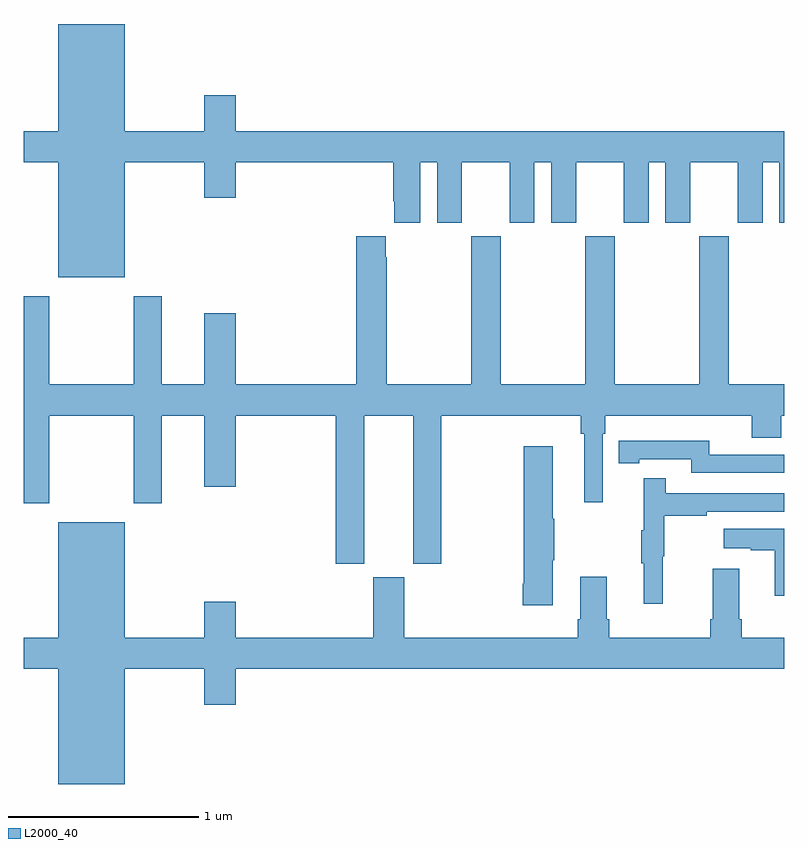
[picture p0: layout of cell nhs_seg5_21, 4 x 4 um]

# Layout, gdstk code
import gdstk
lib = gdstk.Library(unit=1e-6, precision=1e-09)
def P(c, l, *ps):  # polygons
    for p in ps: c.add(gdstk.Polygon(p, *l))
L2000_40 = (2000, 40)

nhs_seg5_21 = lib.new_cell('nhs_seg5_21')
P(nhs_seg5_21, L2000_40, [(111.532,878.072),(111.95,878.072),(111.95,877.884),(112.114,877.884),(112.114,878.072),(112.943,878.072),(112.943,877.867),(112.949,877.867),(112.949,877.755),(113.086,877.755),(113.086,878.072),(113.174,878.072),(113.174,877.755),(113.305,877.755),(113.305,878.072),(113.555,878.072),(113.555,877.755),(113.686,877.755),(113.686,878.072),(113.774,878.072),(113.774,877.755),(113.905,877.755),(113.905,878.072),(114.155,878.072),(114.155,877.755),(114.286,877.755),(114.286,878.072),(114.374,878.072),(114.374,877.755),(114.505,877.755),(114.505,878.072),(114.755,878.072),(114.755,877.755),(114.886,877.755),(114.886,878.072),(114.974,878.072),(114.974,877.755),(115,877.755),(115,878.236),(112.114,878.236),(112.114,878.425),(111.95,878.425),(111.95,878.236),(111.532,878.236),(111.532,878.799),(111.182,878.799),(111.182,878.236),(111,878.236),(111,878.072),(111.182,878.072),(111.182,877.466),(111.532,877.466)],
  [(112.792,876.74),(113.048,876.74),(113.048,875.961),(113.196,875.961),(113.196,876.74),(113.929,876.74),(113.929,876.644),(113.948,876.644),(113.948,876.285),(114.045,876.285),(114.045,876.644),(114.059,876.644),(114.059,876.74),(114.83,876.74),(114.83,876.623),(114.983,876.623),(114.983,876.74),(115,876.74),(115,876.904),(114.708,876.904),(114.708,877.684),(114.553,877.684),(114.553,876.904),(114.108,876.904),(114.108,877.684),(113.953,877.684),(113.953,876.904),(113.508,876.904),(113.508,877.684),(113.353,877.684),(113.353,876.904),(112.908,876.904),(112.908,877.571),(112.903,877.571),(112.903,877.684),(112.748,877.684),(112.748,876.904),(112.114,876.904),(112.114,877.279),(111.95,877.279),(111.95,876.904),(111.727,876.904),(111.727,877.366),(111.58,877.366),(111.58,876.904),(111.135,876.904),(111.135,877.366),(111,877.366),(111,876.279),(111.135,876.279),(111.135,876.74),(111.58,876.74),(111.58,876.279),(111.727,876.279),(111.727,876.74),(111.95,876.74),(111.95,876.366),(112.114,876.366),(112.114,876.74),(112.64,876.74),(112.64,875.961),(112.792,875.961)],
  [(115,876.534),(114.606,876.534),(114.606,876.607),(114.238,876.607),(114.238,876.606),(114.13,876.606),(114.13,876.49),(114.238,876.49),(114.238,876.51),(114.51,876.51),(114.51,876.438),(115,876.438)],
  [(113.782,875.98),(113.79,875.98),(113.79,876.197),(113.782,876.197),(113.782,876.577),(113.629,876.577),(113.629,875.854),(113.624,875.854),(113.624,875.742),(113.782,875.742)],
  [(114.362,876),(114.37,876),(114.37,876.214),(114.593,876.214),(114.593,876.234),(115,876.234),(115,876.33),(114.377,876.33),(114.377,876.409),(114.26,876.409),(114.26,876.137),(114.249,876.137),(114.249,875.963),(114.26,875.963),(114.26,875.751),(114.362,875.751)],
  [(111.532,875.408),(111.95,875.408),(111.95,875.22),(112.114,875.22),(112.114,875.408),(115,875.408),(115,875.572),(114.776,875.572),(114.776,875.668),(114.763,875.668),(114.763,875.935),(114.623,875.935),(114.623,875.668),(114.611,875.668),(114.611,875.572),(114.08,875.572),(114.08,875.668),(114.067,875.668),(114.067,875.893),(113.927,875.893),(113.927,875.668),(113.915,875.668),(113.915,875.572),(113.002,875.572),(113.002,875.889),(112.838,875.889),(112.838,875.572),(112.114,875.572),(112.114,875.761),(111.95,875.761),(111.95,875.572),(111.532,875.572),(111.532,876.178),(111.182,876.178),(111.182,875.572),(111,875.572),(111,875.408),(111.182,875.408),(111.182,874.802),(111.532,874.802)],
  [(115,876.145),(114.681,876.145),(114.681,876.041),(114.824,876.041),(114.824,876.031),(114.95,876.031),(114.95,875.793),(115,875.793)])

lib.write_gds('nhs_seg5_21.gds')
